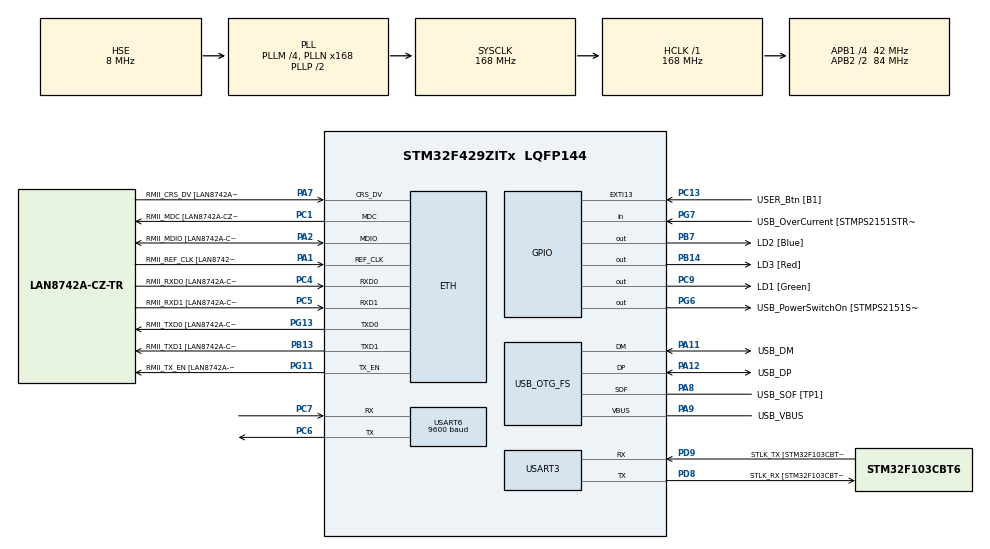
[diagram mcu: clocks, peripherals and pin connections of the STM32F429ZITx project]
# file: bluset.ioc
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ETH.MediaInterface=ETH_MEDIA_INTERFACE_RMII
ETH.PHY_Name=LAN8742A_PHY_ADDRESS
ETH.PHY_Value=0
ETH.PhyAddress=0
Mcu.Family=STM32F4
Mcu.Name=STM32F429ZITx
Mcu.Package=LQFP144
NVIC.PriorityGroup=NVIC_PRIORITYGROUP_4
NVIC.USART3_IRQn=true\:0\:0\:false\:false\:true\:true
NVIC.USART6_IRQn=true\:0\:0\:false\:false\:true\:true
PA1.GPIO_Label=RMII_REF_CLK [LAN8742A-CZ-TR_REFCLK0]
PA1.Mode=RMII
PA1.Signal=ETH_REF_CLK
PA10.GPIO_Label=USB_ID
PA10.Signal=USB_OTG_FS_ID
PA11.GPIO_Label=USB_DM
PA11.Mode=Device_Only
PA11.Signal=USB_OTG_FS_DM
PA12.GPIO_Label=USB_DP
PA12.Mode=Device_Only
PA12.Signal=USB_OTG_FS_DP
PA13.GPIO_Label=TMS
PA13.Mode=Serial_Wire
PA13.Signal=SYS_JTMS-SWDIO
PA14.GPIO_Label=TCK
PA14.Mode=Serial_Wire
PA14.Signal=SYS_JTCK-SWCLK
PA2.GPIO_Label=RMII_MDIO [LAN8742A-CZ-TR_MDIO]
PA2.Mode=RMII
PA2.Signal=ETH_MDIO
PA7.GPIO_Label=RMII_CRS_DV [LAN8742A-CZ-TR_CRS_DV]
PA7.Mode=RMII
PA7.Signal=ETH_CRS_DV
PA8.GPIO_Label=USB_SOF [TP1]
PA8.Mode=Activate_SOF_FS
PA8.Signal=USB_OTG_FS_SOF
PA9.GPIO_Label=USB_VBUS
PA9.Mode=Activate_VBUS
PA9.Signal=USB_OTG_FS_VBUS
PB13.GPIO_Label=RMII_TXD1 [LAN8742A-CZ-TR_TXD1]
PB13.Mode=RMII
PB13.Signal=ETH_TXD1
PB14.GPIO_Label=LD3 [Red]
PB14.Signal=GPIO_Output
PB7.GPIO_Label=LD2 [Blue]
PB7.Signal=GPIO_Output
PC1.GPIO_Label=RMII_MDC [LAN8742A-CZ-TR_MDC]
PC1.Mode=RMII
PC1.Signal=ETH_MDC
PC13.GPIO_Label=USER_Btn [B1]
PC13.Signal=GPXTI13
PC14/OSC32_IN.Mode=LSE-External-Oscillator
PC14/OSC32_IN.Signal=RCC_OSC32_IN
PC15/OSC32_OUT.Mode=LSE-External-Oscillator
PC15/OSC32_OUT.Signal=RCC_OSC32_OUT
PC4.GPIO_Label=RMII_RXD0 [LAN8742A-CZ-TR_RXD0]
PC4.Mode=RMII
PC4.Signal=ETH_RXD0
PC5.GPIO_Label=RMII_RXD1 [LAN8742A-CZ-TR_RXD1]
PC5.Mode=RMII
PC5.Signal=ETH_RXD1
PC6.Mode=Asynchronous
PC6.Signal=USART6_TX
PC7.Mode=Asynchronous
PC7.Signal=USART6_RX
PC9.GPIO_Label=LD1 [Green]
PC9.Signal=GPIO_Output
PD8.GPIO_Label=STLK_RX [STM32F103CBT6_PA3]
PD8.Mode=Asynchronous
PD8.Signal=USART3_TX
PD9.GPIO_Label=STLK_TX [STM32F103CBT6_PA2]
PD9.Mode=Asynchronous
PD9.Signal=USART3_RX
PG11.GPIO_Label=RMII_TX_EN [LAN8742A-CZ-TR_TXEN]
PG11.Mode=RMII
PG11.Signal=ETH_TX_EN
PG13.GPIO_Label=RMII_TXD0 [LAN8742A-CZ-TR_TXD0]
PG13.Mode=RMII
PG13.Signal=ETH_TXD0
PG6.GPIO_Label=USB_PowerSwitchOn [STMPS2151STR_EN]
PG6.Signal=GPIO_Output
PG7.GPIO_Label=USB_OverCurrent [STMPS2151STR_FAULT]
PG7.Signal=GPIO_Input
PH0/OSC_IN.GPIO_Label=MCO [STM32F103CBT6_PA8]
PH0/OSC_IN.Mode=HSE-External-Clock-Source
PH0/OSC_IN.Signal=RCC_OSC_IN
PH1/OSC_OUT.Mode=HSE-External-Clock-Source
PH1/OSC_OUT.Signal=RCC_OSC_OUT
ProjectManager.HeapSize=0x200
ProjectManager.StackSize=0x400
ProjectManager.TargetToolchain=EWARM V7
RCC.48MHZClocksFreq_Value=48000000
RCC.AHBFreq_Value=168000000
RCC.APB1CLKDivider=RCC_HCLK_DIV4
RCC.APB1Freq_Value=42000000
RCC.APB1TimFreq_Value=84000000
RCC.APB2CLKDivider=RCC_HCLK_DIV2
RCC.APB2Freq_Value=84000000
RCC.APB2TimCLKDivider=2
RCC.APB2TimFreq_Value=168000000
RCC.CortexFreq_Value=168000000
RCC.HCLKFreq_Value=168000000
RCC.HSE_VALUE=8000000
RCC.HSI_VALUE=16000000
RCC.PLLM=4
RCC.PLLMUL=RCC_PLL_MUL9
RCC.PLLN=168
RCC.PLLQ=7
RCC.PRESCALERUSB=RCC_USBCLKSOURCE_PLL_DIV1_5
RCC.SYSCLKFreq_VALUE=168000000
RCC.SYSCLKSource=RCC_SYSCLKSOURCE_PLLCLK
RCC.SYSCLKSourceVirtual=RCC_SYSCLKSOURCE_PLLCLK
RCC.USBFreq_Value=48000000
RCC.VCOOutputFreq_Value=336000000
USART3.VirtualMode=VM_ASYNC
USART6.BaudRate=9600
USART6.VirtualMode=VM_ASYNC
USB_OTG_FS.VirtualMode=Device_Only
board=NUCLEO-F429ZI

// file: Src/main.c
/* USER CODE BEGIN Header */
/**
  ******************************************************************************
  * @file           : main.c
  * @brief          : Main program body
  ******************************************************************************
  ** This notice applies to any and all portions of this file
  * that are not between comment pairs USER CODE BEGIN and
  * USER CODE END. Other portions of this file, whether
  * inserted by the user or by software development tools
  * are owned by their respective copyright owners.
  *
  * COPYRIGHT(c) 2019 STMicroelectronics
  *
  * Redistribution and use in source and binary forms, with or without modification,
  * are permitted provided that the following conditions are met:
  *   1. Redistributions of source code must retain the above copyright notice,
  *      this list of conditions and the following disclaimer.
  *   2. Redistributions in binary form must reproduce the above copyright notice,
  *      this list of conditions and the following disclaimer in the documentation
  *      and/or other materials provided with the distribution.
  *   3. Neither the name of STMicroelectronics nor the names of its contributors
  *      may be used to endorse or promote products derived from this software
  *      without specific prior written permission.
  *
  * THIS SOFTWARE IS PROVIDED BY THE COPYRIGHT HOLDERS AND CONTRIBUTORS "AS IS"
  * AND ANY EXPRESS OR IMPLIED WARRANTIES, INCLUDING, BUT NOT LIMITED TO, THE
  * IMPLIED WARRANTIES OF MERCHANTABILITY AND FITNESS FOR A PARTICULAR PURPOSE ARE
  * DISCLAIMED. IN NO EVENT SHALL THE COPYRIGHT HOLDER OR CONTRIBUTORS BE LIABLE
  * FOR ANY DIRECT, INDIRECT, INCIDENTAL, SPECIAL, EXEMPLARY, OR CONSEQUENTIAL
  * DAMAGES (INCLUDING, BUT NOT LIMITED TO, PROCUREMENT OF SUBSTITUTE GOODS OR
  * SERVICES; LOSS OF USE, DATA, OR PROFITS; OR BUSINESS INTERRUPTION) HOWEVER
  * CAUSED AND ON ANY THEORY OF LIABILITY, WHETHER IN CONTRACT, STRICT LIABILITY,
  * OR TORT (INCLUDING NEGLIGENCE OR OTHERWISE) ARISING IN ANY WAY OUT OF THE USE
  * OF THIS SOFTWARE, EVEN IF ADVISED OF THE POSSIBILITY OF SUCH DAMAGE.
  *
  ******************************************************************************
  */
/* USER CODE END Header */

#include "main.h"

/* USER CODE BEGIN Includes */
uint8_t pcdata, bldata;
uint8_t ci = 0;
uint8_t ctemp[100];
/* USER CODE END Includes */

ETH_HandleTypeDef heth;

UART_HandleTypeDef huart3;
UART_HandleTypeDef huart6;

PCD_HandleTypeDef hpcd_USB_OTG_FS;

void SystemClock_Config(void);
static void MX_GPIO_Init(void);
static void MX_ETH_Init(void);
static void MX_USART3_UART_Init(void);
static void MX_USB_OTG_FS_PCD_Init(void);
static void MX_USART6_UART_Init(void);

int main(void)
{

  /* MCU Configuration--------------------------------------------------------*/

  /* Reset of all peripherals, Initializes the Flash interface and the Systick. */
  HAL_Init();

  /* Configure the system clock */
  SystemClock_Config();

  /* Initialize all configured peripherals */
  MX_GPIO_Init();
  MX_ETH_Init();
  MX_USART3_UART_Init();
  MX_USB_OTG_FS_PCD_Init();
  MX_USART6_UART_Init();
  /* USER CODE BEGIN 2 */
  HAL_UART_Receive_IT(&huart6, &bldata, 1);
  HAL_UART_Receive_IT(&huart3, &pcdata, 1);
  HAL_UART_Transmit(&huart3, "3\n\r", 3, 100);
  //BT_S_Init();
  //HAL_UART_Transmit(&huart3, "2\n\r", 3, 100);
  //HAL_UART_Transmit(&huart3, "3\n\r", 3, 100);
  /* USER CODE END 2 */

  /* Infinite loop */
  while (1)
  {
  }
}

void SystemClock_Config(void)
{
  RCC_OscInitTypeDef RCC_OscInitStruct = {0};
  RCC_ClkInitTypeDef RCC_ClkInitStruct = {0};

  /**Configure the main internal regulator output voltage
  */
  __HAL_RCC_PWR_CLK_ENABLE();
  __HAL_PWR_VOLTAGESCALING_CONFIG(PWR_REGULATOR_VOLTAGE_SCALE1);
  /**Initializes the CPU, AHB and APB busses clocks
  */
  RCC_OscInitStruct.OscillatorType = RCC_OSCILLATORTYPE_HSE;
  RCC_OscInitStruct.HSEState = RCC_HSE_BYPASS;
  RCC_OscInitStruct.PLL.PLLState = RCC_PLL_ON;
  RCC_OscInitStruct.PLL.PLLSource = RCC_PLLSOURCE_HSE;
  RCC_OscInitStruct.PLL.PLLM = 4;
  RCC_OscInitStruct.PLL.PLLN = 168;
  RCC_OscInitStruct.PLL.PLLP = RCC_PLLP_DIV2;
  RCC_OscInitStruct.PLL.PLLQ = 7;
  if (HAL_RCC_OscConfig(&RCC_OscInitStruct) != HAL_OK)
  {
    Error_Handler();
  }
  /**Initializes the CPU, AHB and APB busses clocks
  */
  RCC_ClkInitStruct.ClockType = RCC_CLOCKTYPE_HCLK|RCC_CLOCKTYPE_SYSCLK
                              |RCC_CLOCKTYPE_PCLK1|RCC_CLOCKTYPE_PCLK2;
  RCC_ClkInitStruct.SYSCLKSource = RCC_SYSCLKSOURCE_PLLCLK;
  RCC_ClkInitStruct.AHBCLKDivider = RCC_SYSCLK_DIV1;
  RCC_ClkInitStruct.APB1CLKDivider = RCC_HCLK_DIV4;
  RCC_ClkInitStruct.APB2CLKDivider = RCC_HCLK_DIV2;

  if (HAL_RCC_ClockConfig(&RCC_ClkInitStruct, FLASH_LATENCY_5) != HAL_OK)
  {
    Error_Handler();
  }
}

static void MX_ETH_Init(void)
{

   uint8_t MACAddr[6] ;

  heth.Instance = ETH;
  heth.Init.AutoNegotiation = ETH_AUTONEGOTIATION_ENABLE;
  heth.Init.PhyAddress = LAN8742A_PHY_ADDRESS;
  MACAddr[0] = 0x00;
  MACAddr[1] = 0x80;
  MACAddr[2] = 0xE1;
  MACAddr[3] = 0x00;
  MACAddr[4] = 0x00;
  MACAddr[5] = 0x00;
  heth.Init.MACAddr = &MACAddr[0];
  heth.Init.RxMode = ETH_RXPOLLING_MODE;
  heth.Init.ChecksumMode = ETH_CHECKSUM_BY_HARDWARE;
  heth.Init.MediaInterface = ETH_MEDIA_INTERFACE_RMII;

  if (HAL_ETH_Init(&heth) != HAL_OK)
  {
    Error_Handler();
  }

}

static void MX_USART3_UART_Init(void)
{

  huart3.Instance = USART3;
  huart3.Init.BaudRate = 115200;
  huart3.Init.WordLength = UART_WORDLENGTH_8B;
  huart3.Init.StopBits = UART_STOPBITS_1;
  huart3.Init.Parity = UART_PARITY_NONE;
  huart3.Init.Mode = UART_MODE_TX_RX;
  huart3.Init.HwFlowCtl = UART_HWCONTROL_NONE;
  huart3.Init.OverSampling = UART_OVERSAMPLING_16;
  if (HAL_UART_Init(&huart3) != HAL_OK)
  {
    Error_Handler();
  }

}

static void MX_USART6_UART_Init(void)
{

  huart6.Instance = USART6;
  huart6.Init.BaudRate = 115200;
  huart6.Init.WordLength = UART_WORDLENGTH_8B;
  huart6.Init.StopBits = UART_STOPBITS_1;
  huart6.Init.Parity = UART_PARITY_NONE;
  huart6.Init.Mode = UART_MODE_TX_RX;
  huart6.Init.HwFlowCtl = UART_HWCONTROL_NONE;
  huart6.Init.OverSampling = UART_OVERSAMPLING_16;
  if (HAL_UART_Init(&huart6) != HAL_OK)
  {
    Error_Handler();
  }

}

static void MX_USB_OTG_FS_PCD_Init(void)
{

  hpcd_USB_OTG_FS.Instance = USB_OTG_FS;
  hpcd_USB_OTG_FS.Init.dev_endpoints = 4;
  hpcd_USB_OTG_FS.Init.speed = PCD_SPEED_FULL;
  hpcd_USB_OTG_FS.Init.dma_enable = DISABLE;
  hpcd_USB_OTG_FS.Init.ep0_mps = DEP0CTL_MPS_64;
  hpcd_USB_OTG_FS.Init.phy_itface = PCD_PHY_EMBEDDED;
  hpcd_USB_OTG_FS.Init.Sof_enable = ENABLE;
  hpcd_USB_OTG_FS.Init.low_power_enable = DISABLE;
  hpcd_USB_OTG_FS.Init.lpm_enable = DISABLE;
  hpcd_USB_OTG_FS.Init.vbus_sensing_enable = ENABLE;
  hpcd_USB_OTG_FS.Init.use_dedicated_ep1 = DISABLE;
  if (HAL_PCD_Init(&hpcd_USB_OTG_FS) != HAL_OK)
  {
    Error_Handler();
  }

}

static void MX_GPIO_Init(void)
{
  GPIO_InitTypeDef GPIO_InitStruct = {0};

  /* GPIO Ports Clock Enable */
  __HAL_RCC_GPIOC_CLK_ENABLE();
  __HAL_RCC_GPIOH_CLK_ENABLE();
  __HAL_RCC_GPIOA_CLK_ENABLE();
  __HAL_RCC_GPIOB_CLK_ENABLE();
  __HAL_RCC_GPIOD_CLK_ENABLE();
  __HAL_RCC_GPIOG_CLK_ENABLE();

  /*Configure GPIO pin Output Level */
  HAL_GPIO_WritePin(GPIOB, LD3_Pin|LD2_Pin, GPIO_PIN_RESET);

  /*Configure GPIO pin Output Level */
  HAL_GPIO_WritePin(USB_PowerSwitchOn_GPIO_Port, USB_PowerSwitchOn_Pin, GPIO_PIN_RESET);

  /*Configure GPIO pin Output Level */
  HAL_GPIO_WritePin(LD1_GPIO_Port, LD1_Pin, GPIO_PIN_RESET);

  /*Configure GPIO pin : USER_Btn_Pin */
  GPIO_InitStruct.Pin = USER_Btn_Pin;
  GPIO_InitStruct.Mode = GPIO_MODE_IT_RISING;
  GPIO_InitStruct.Pull = GPIO_NOPULL;
  HAL_GPIO_Init(USER_Btn_GPIO_Port, &GPIO_InitStruct);

  /*Configure GPIO pins : LD3_Pin LD2_Pin */
  GPIO_InitStruct.Pin = LD3_Pin|LD2_Pin;
  GPIO_InitStruct.Mode = GPIO_MODE_OUTPUT_PP;
  GPIO_InitStruct.Pull = GPIO_NOPULL;
  GPIO_InitStruct.Speed = GPIO_SPEED_FREQ_LOW;
  HAL_GPIO_Init(GPIOB, &GPIO_InitStruct);

  /*Configure GPIO pin : USB_PowerSwitchOn_Pin */
  GPIO_InitStruct.Pin = USB_PowerSwitchOn_Pin;
  GPIO_InitStruct.Mode = GPIO_MODE_OUTPUT_PP;
  GPIO_InitStruct.Pull = GPIO_NOPULL;
  GPIO_InitStruct.Speed = GPIO_SPEED_FREQ_LOW;
  HAL_GPIO_Init(USB_PowerSwitchOn_GPIO_Port, &GPIO_InitStruct);

  /*Configure GPIO pin : USB_OverCurrent_Pin */
  GPIO_InitStruct.Pin = USB_OverCurrent_Pin;
  GPIO_InitStruct.Mode = GPIO_MODE_INPUT;
  GPIO_InitStruct.Pull = GPIO_NOPULL;
  HAL_GPIO_Init(USB_OverCurrent_GPIO_Port, &GPIO_InitStruct);

  /*Configure GPIO pin : LD1_Pin */
  GPIO_InitStruct.Pin = LD1_Pin;
  GPIO_InitStruct.Mode = GPIO_MODE_OUTPUT_PP;
  GPIO_InitStruct.Pull = GPIO_NOPULL;
  GPIO_InitStruct.Speed = GPIO_SPEED_FREQ_LOW;
  HAL_GPIO_Init(LD1_GPIO_Port, &GPIO_InitStruct);

}

/* USER CODE BEGIN 4 */
void HAL_UART_RxCpltCallback(UART_HandleTypeDef *huart){
  uint8_t nar[2] = {'\r', '\n'};

  if(huart->Instance == huart6.Instance){ //uart 6번에서 입력(블루투스1)
    HAL_UART_Transmit(&huart3, &bldata, 1, 100);

    HAL_UART_Receive_IT(&huart6, &bldata, 1);
  }

  if(huart->Instance == huart3.Instance){ //컴퓨터에서 입력
    HAL_UART_Transmit(&huart3, &pcdata, 1, 100);

    if(pcdata == '\n'){
      ctemp[ci] = nar[0];
      ctemp[ci+1] = nar[1];
      HAL_UART_Transmit(&huart6, ctemp, ci-1, 1000);
      ci=0;
    } else {
      ctemp[ci] = pcdata;
      ci++;
    }

    HAL_UART_Receive_IT(&huart3, &pcdata, 1);
  }
}
/* USER CODE END 4 */

void Error_Handler(void)
{
}

/************************ (C) COPYRIGHT STMicroelectronics *****END OF FILE****/
